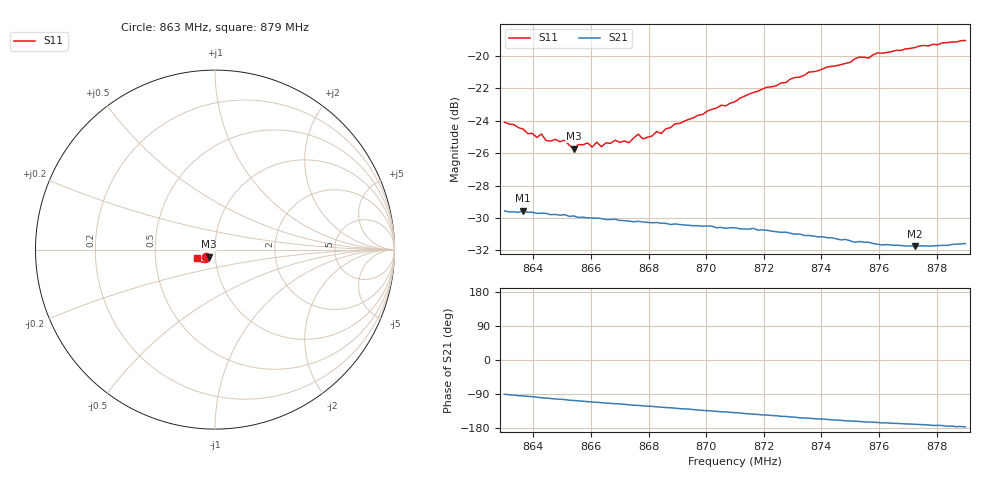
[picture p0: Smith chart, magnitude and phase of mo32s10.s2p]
# HZ S RI R 50
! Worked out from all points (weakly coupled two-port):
!   101 points, 863 MHz to 879 MHz, reference 50 ohm
!   highest |S21| = -29.55 dB at 863.64 MHz (marker M1); lowest = -31.7 dB at 877.24 MHz (marker M2)
!   lowest |S11| = -25.7 dB at 865.4 MHz (marker M3), VSWR 1.11, Z = 46.6 - j3.64 ohm
!   |S11| at or under -10 dB: start of sweep to end of sweep
!   S12 and S22 are empty: the file has one direction only
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8.63e8  -0.0483 -0.0395  -0.000292 -0.0333  0 0  0 0
8.6364e8  -0.0451 -0.0388  -0.00275 -0.0332  0 0  0 0
8.6412e8  -0.0404 -0.0388  -0.00454 -0.0323  0 0  0 0
8.6428e8  -0.041 -0.0402  -0.00554 -0.0323  0 0  0 0
8.6444e8  -0.0397 -0.0377  -0.00594 -0.0321  0 0  0 0
8.6508e8  -0.036 -0.0415  -0.008 -0.0314  0 0  0 0
8.654e8  -0.034 -0.039  -0.0093 -0.0307  0 0  0 0
8.6572e8  -0.0326 -0.042  -0.0102 -0.0301  0 0  0 0
8.6604e8  -0.0321 -0.0414  -0.0113 -0.0295  0 0  0 0
8.662e8  -0.0326 -0.0432  -0.0116 -0.0294  0 0  0 0
8.6636e8  -0.0312 -0.0421  -0.0121 -0.0291  0 0  0 0
8.6684e8  -0.0305 -0.0457  -0.0134 -0.0283  0 0  0 0
8.6732e8  -0.0279 -0.0462  -0.0146 -0.0273  0 0  0 0
8.6764e8  -0.03 -0.0489  -0.0153 -0.0268  0 0  0 0
8.678e8  -0.0286 -0.0476  -0.0157 -0.0264  0 0  0 0
8.6844e8  -0.0273 -0.0507  -0.0173 -0.0251  0 0  0 0
8.6892e8  -0.0287 -0.0547  -0.0183 -0.0242  0 0  0 0
8.71e8  -0.0341 -0.0636  -0.0223 -0.0194  0 0  0 0
8.7372e8  -0.0528 -0.0721  -0.0252 -0.0119  0 0  0 0
8.7644e8  -0.0793 -0.0659  -0.0254 -0.00587  0 0  0 0
8.7724e8  -0.0863 -0.0616  -0.0255 -0.0046  0 0  0 0
8.79e8  -0.1014 -0.0466  -0.0263 -0.00158  0 0  0 0
